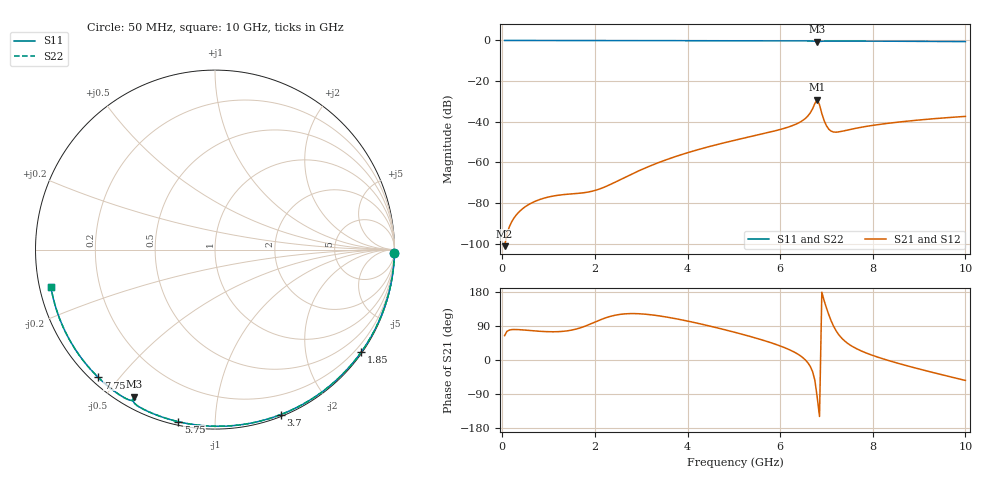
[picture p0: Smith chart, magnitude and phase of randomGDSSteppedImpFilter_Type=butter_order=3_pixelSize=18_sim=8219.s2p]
! freq	dB(S11)	phase(S11)	dB(S12)	phase(S12)
!  dB(S21)	phase(S21)	dB(S22)	phase(S22)
!S-par simulation data
#  GHz  S  DB  R 50
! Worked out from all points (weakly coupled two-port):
!   200 points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, 50 MHz to 10 GHz, reference 50 ohm
!   highest |S21| = -29.07 dB at 6.8 GHz (marker M1); lowest = -101.1 dB at 50 MHz (marker M2)
!   lowest |S11| = -0.6 dB at 6.8 GHz (marker M3), VSWR 29.19, Z = 2.31 - j29.6 ohm
!   |S11| at or under -10 dB: nowhere
!   |S22| runs from -0.6 to 0.0 dB; largest |S21 - S12| = 0
!   S11 on the Smith chart (normalised r, x): 50 MHz: open; 1.85 GHz: 0.03, -3.16; 3.7 GHz: 0.02, -1.48; 5.75 GHz: 0.02, -0.81; 7.75 GHz: 0.02, -0.44; 10 GHz: 0.03, -0.11
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0.05  -0.00 -1.0  -101.15 64.3  -101.15 64.3  -0.00 -1.0
0.6  -0.01 -11.6  -80.29 77.8  -80.29 77.8  -0.01 -11.6
1.05  -0.03 -20.1  -76.71 74.5  -76.71 74.5  -0.03 -20.1
1.75  -0.04 -33.3  -74.90 87.6  -74.90 87.6  -0.04 -33.3
1.85  -0.04 -35.1  -74.56 92.3  -74.56 92.3  -0.04 -35.1
2.2  -0.05 -41.6  -72.16 109.9  -72.16 109.9  -0.05 -41.6
3.4  -0.08 -63.0  -59.84 116.2  -59.84 116.2  -0.08 -63.0
3.7  -0.09 -68.2  -57.39 110.0  -57.39 110.0  -0.09 -68.2
5.05  -0.14 -90.8  -48.90 72.2  -48.90 72.2  -0.14 -90.8
5.75  -0.17 -102.0  -45.22 47.6  -45.22 47.6  -0.17 -102.0
6.4  -0.21 -112.3  -40.52 14.1  -40.52 14.1  -0.21 -112.3
6.6  -0.24 -115.7  -37.09 -7.6  -37.09 -7.6  -0.24 -115.7
6.7  -0.30 -117.7  -33.61 -30.4  -33.61 -30.4  -0.30 -117.7
6.8  -0.60 -118.7  -29.07 -98.1  -29.07 -98.1  -0.59 -118.7
6.85  -0.50 -117.9  -31.66 -149.1  -31.66 -149.1  -0.50 -117.9
6.95  -0.32 -119.6  -39.42 156.6  -39.42 156.6  -0.32 -119.6
7  -0.29 -120.5  -41.95 137.3  -41.95 137.3  -0.29 -120.5
7.1  -0.28 -122.3  -44.57 103.7  -44.57 103.7  -0.28 -122.2
7.25  -0.28 -124.7  -45.01 69.3  -45.01 69.3  -0.28 -124.7
7.75  -0.31 -132.4  -42.68 24.0  -42.68 24.0  -0.31 -132.4
8.35  -0.37 -141.5  -40.68 -1.8  -40.68 -1.8  -0.37 -141.5
10  -0.56 -167.1  -37.34 -53.9  -37.34 -53.9  -0.56 -167.1
